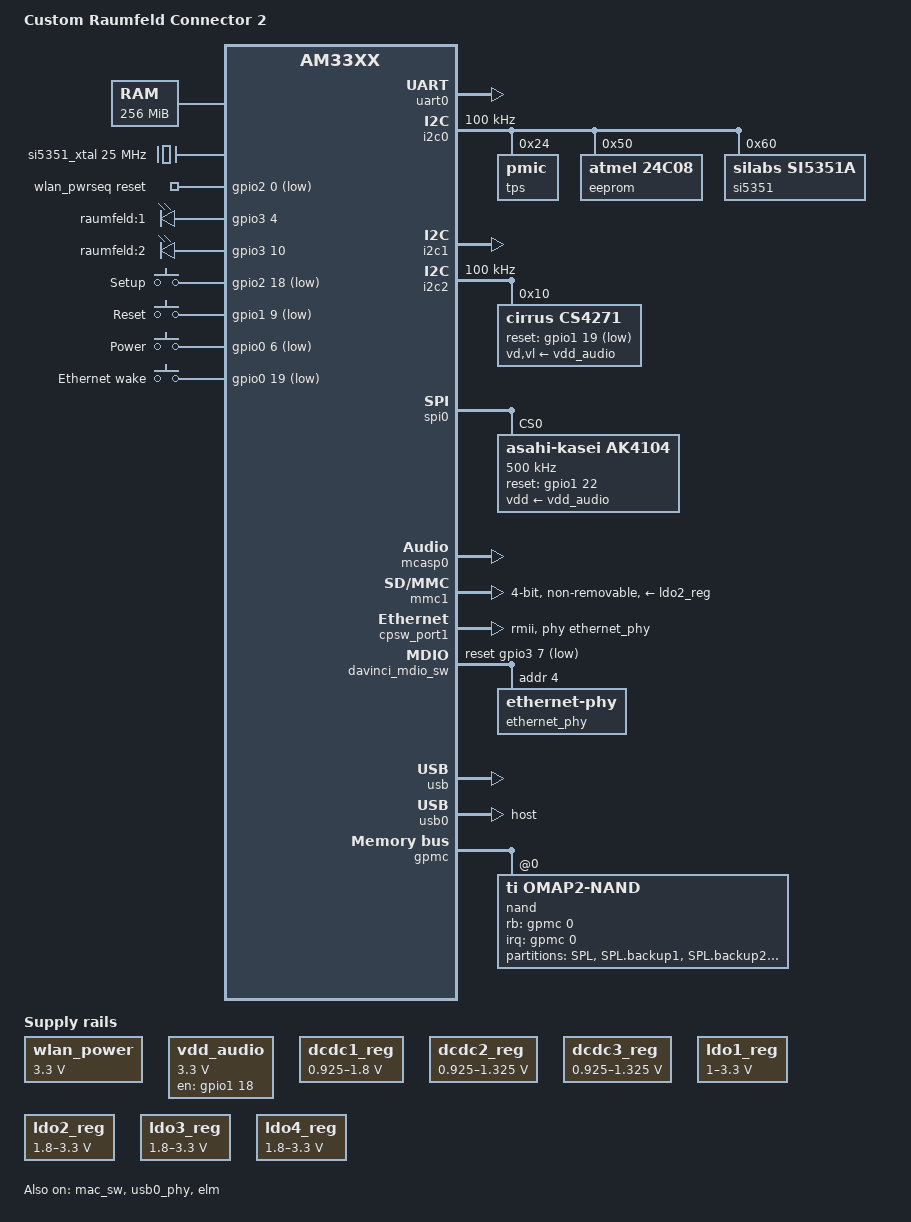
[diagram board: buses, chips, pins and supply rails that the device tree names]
// SPDX-License-Identifier: GPL-2.0-only
/dts-v1/;
#include "am33xx.dtsi"
#include <dt-bindings/interrupt-controller/irq.h>
#include <dt-bindings/input/input.h>
#include <dt-bindings/input/gpio-keys.h>
#include <dt-bindings/pinctrl/omap.h>

/* Board wiring recovered from this unit's original NAND DTB. */
/ {
    model = "Custom Raumfeld Connector 2";
    compatible = "raumfeld,raumfeld-connector2", "ti,am335x-raumfeld-connector", "ti,am33xx";
    chosen { stdout-path = "serial0:115200n8"; };
    memory@80000000 { device_type = "memory"; reg = <0x80000000 0x10000000>; };
    cpus { cpu@0 { cpu0-supply = <&dcdc2_reg>; }; };

    si5351_xtal: clock-25000000 {
        compatible = "fixed-clock";
        #clock-cells = <0>;
        clock-frequency = <25000000>;
    };
    wlan_power: regulator-wlan {
        compatible = "regulator-fixed";
        regulator-name = "wlan-3v3";
        regulator-min-microvolt = <3300000>;
        regulator-max-microvolt = <3300000>;
        regulator-always-on;
    };
    wlan_pwrseq: wlan-pwrseq {
        compatible = "mmc-pwrseq-simple";
        reset-gpios = <&gpio2 0 GPIO_ACTIVE_LOW>;
        clocks = <&clk_32768_ck>;
        clock-names = "ext_clock";
    };
    vdd_audio: regulator-audio {
        compatible = "regulator-fixed";
        regulator-name = "vdd-audio";
        /* AK4104 reads its ID before ASoC enables codec supplies. */
        regulator-boot-on;
        regulator-always-on;
        regulator-min-microvolt = <3300000>;
        regulator-max-microvolt = <3300000>;
        gpio = <&gpio1 18 GPIO_ACTIVE_HIGH>;
        enable-active-high;
        startup-delay-us = <100>;
        pinctrl-names = "default";
        pinctrl-0 = <&audio_power_pins>;
    };
    sound {
        compatible = "raumfeld,connector2-audio";
        model = "Connector2";
        audio-cpu = <&mcasp0>;
        audio-codecs = <&cs4271>, <&ak4104>;
        /* CLK2 mirrors MS0; both audio outputs must remain enabled. */
        clocks = <&si5351 0>, <&si5351 2>;
        clock-names = "mclk", "bus-mclk";
        vd-supply = <&vdd_audio>;
    };
    leds {
        compatible = "gpio-leds";
        pinctrl-names = "default";
        pinctrl-0 = <&led_pins>;
        led-1 { label = "raumfeld:1"; gpios = <&gpio3 4 GPIO_ACTIVE_HIGH>; };
        led-2 { label = "raumfeld:2"; gpios = <&gpio3 10 GPIO_ACTIVE_HIGH>; default-state = "on"; };
    };
    gpio-keys {
        compatible = "gpio-keys";
        pinctrl-names = "default";
        pinctrl-0 = <&button_pins>;
        setup { label = "Setup"; gpios = <&gpio2 18 GPIO_ACTIVE_LOW>; linux,code = <KEY_SETUP>; debounce-interval = <20>; };
        reset { label = "Reset"; gpios = <&gpio1 9 GPIO_ACTIVE_LOW>; linux,code = <KEY_F3>; debounce-interval = <20>; };
        power {
            label = "Power";
            gpios = <&gpio0 6 GPIO_ACTIVE_LOW>;
            linux,code = <KEY_POWER>;
            debounce-interval = <20>;
            wakeup-source;
            /* Releasing the sleep-entry hold must not wake the board. */
            wakeup-event-action = <EV_ACT_ASSERTED>;
        };
        /*
         * The AR8030 interrupt (factory pinmux "eth_wake_s0"): low after a
         * magic packet while Wake-on-LAN is armed, until the PHY's status is
         * read. raumfeld-suspend arms it only for deep sleep.
         */
        ethernet-wake {
            label = "Ethernet wake";
            gpios = <&gpio0 19 GPIO_ACTIVE_LOW>;
            linux,code = <KEY_WAKEUP>;
            wakeup-source;
            wakeup-event-action = <EV_ACT_ASSERTED>;
        };
    };
};

&am33xx_pinmux {
    pinctrl-names = "default";
    pinctrl-0 = <&board_misc_pins>;
    board_misc_pins: board-misc-pins {
        pinctrl-single,pins = <
            AM33XX_PADCONF(0x9b4, 0x00, 3)
            AM33XX_PADCONF(0x9e4, 0x10, 7)
        >;
    };
    uart0_pins: uart0-pins { pinctrl-single,pins = <
            AM33XX_PADCONF(0x970, 0x38, 0)
            AM33XX_PADCONF(0x974, 0x00, 0)
        >; };
    i2c0_pins: i2c0-pins { pinctrl-single,pins = <
            AM33XX_PADCONF(0x988, 0x60, 0)
            AM33XX_PADCONF(0x98c, 0x60, 0)
        >; };
    i2c2_pins: i2c2-pins { pinctrl-single,pins = <
            AM33XX_PADCONF(0x978, 0x20, 3)
            AM33XX_PADCONF(0x97c, 0x20, 3)
        >; };
    cpsw_pins: cpsw-pins {
        pinctrl-single,pins = <
            AM33XX_PADCONF(0x90c, 0x20, 1)
            AM33XX_PADCONF(0x910, 0x20, 1)
            AM33XX_PADCONF(0x914, 0x00, 1)
            AM33XX_PADCONF(0x924, 0x00, 1)
            AM33XX_PADCONF(0x928, 0x00, 1)
            AM33XX_PADCONF(0x93c, 0x20, 1)
            AM33XX_PADCONF(0x940, 0x20, 1)
            AM33XX_PADCONF(0x944, 0x20, 0)
            AM33XX_PADCONF(0x9b0, 0x20, 7)
        >;
    };
    /*
     * The factory's cpsw_sleep/davinci_mdio_sleep: with Wake-on-LAN armed the
     * PHY keeps running, and its RMII clock and data must not reach the MAC,
     * or the PER power domain does not turn off in deep sleep. GPIO0_19 stays
     * the wake input.
     */
    cpsw_sleep_pins: cpsw-sleep-pins {
        pinctrl-single,pins = <
            AM33XX_PADCONF(0x90c, 0x20, 7)
            AM33XX_PADCONF(0x910, 0x20, 7)
            AM33XX_PADCONF(0x914, 0x20, 7)
            AM33XX_PADCONF(0x924, 0x20, 7)
            AM33XX_PADCONF(0x928, 0x20, 7)
            AM33XX_PADCONF(0x93c, 0x20, 7)
            AM33XX_PADCONF(0x940, 0x20, 7)
            AM33XX_PADCONF(0x944, 0x20, 7)
            AM33XX_PADCONF(0x9b0, 0x20, 7)
        >;
    };
    mdio_sleep_pins: mdio-sleep-pins { pinctrl-single,pins = <
            AM33XX_PADCONF(0x948, 0x20, 7)
            AM33XX_PADCONF(0x94c, 0x20, 7)
        >; };
    mdio_pins: mdio-pins { pinctrl-single,pins = <
            AM33XX_PADCONF(0x948, 0x70, 0)
            AM33XX_PADCONF(0x94c, 0x10, 0)
        >; };
    wlan_pins: wlan-pins {
        pinctrl-single,pins = <
            AM33XX_PADCONF(0x8fc, 0x38, 0)
            AM33XX_PADCONF(0x8f8, 0x38, 0)
            AM33XX_PADCONF(0x8f4, 0x38, 0)
            AM33XX_PADCONF(0x8f0, 0x38, 0)
            AM33XX_PADCONF(0x900, 0x38, 0)
            AM33XX_PADCONF(0x904, 0x38, 0)
            AM33XX_PADCONF(0x888, 0x00, 7)
        >;
    };
    spi0_pins: spi0-pins {
        pinctrl-single,pins = <
            AM33XX_PADCONF(0x950, 0x28, 0)
            AM33XX_PADCONF(0x954, 0x08, 0)
            AM33XX_PADCONF(0x958, 0x30, 0)
            AM33XX_PADCONF(0x95c, 0x10, 0)
            AM33XX_PADCONF(0x858, 0x00, 7)
        >;
    };
    cs4271_reset_pins: cs4271-reset-pins { pinctrl-single,pins = <
            AM33XX_PADCONF(0x84c, 0x10, 7)
        >; };
    audio_power_pins: audio-power-pins { pinctrl-single,pins = <
            AM33XX_PADCONF(0x848, 0x10, 7)
        >; };
    mcasp0_pins: mcasp0-pins {
        pinctrl-single,pins = <
            AM33XX_PADCONF(0x9ac, 0x28, 0)
            AM33XX_PADCONF(0x990, 0x08, 0)
            AM33XX_PADCONF(0x994, 0x08, 0)
            AM33XX_PADCONF(0x998, 0x08, 0)
            AM33XX_PADCONF(0x9a8, 0x28, 0)
            AM33XX_PADCONF(0x878, 0x20, 7)
            AM33XX_PADCONF(0x9a4, 0x20, 7)
            AM33XX_PADCONF(0x99c, 0x28, 0)
            AM33XX_PADCONF(0x9a0, 0x20, 7)
        >;
    };
    button_pins: button-pins { pinctrl-single,pins = <
            AM33XX_PADCONF(0x934, 0x30, 7)
            AM33XX_PADCONF(0x96c, 0x30, 7)
            AM33XX_PADCONF(0x960, 0x30, 7)
        >; };
    /* Original LED GPIOs are bank 3; mux their actual pads, not inherited bank-1 placeholders. */
    led_pins: led-pins { pinctrl-single,pins = <
            AM33XX_PADCONF(0x918, 0x00, 7)
            AM33XX_PADCONF(0x930, 0x00, 7)
        >; };
    nand_pins: nand-pins {
        pinctrl-single,pins = <
            AM33XX_PADCONF(0x800, 0x30, 0)
            AM33XX_PADCONF(0x804, 0x30, 0)
            AM33XX_PADCONF(0x808, 0x30, 0)
            AM33XX_PADCONF(0x80c, 0x30, 0)
            AM33XX_PADCONF(0x810, 0x30, 0)
            AM33XX_PADCONF(0x814, 0x30, 0)
            AM33XX_PADCONF(0x818, 0x30, 0)
            AM33XX_PADCONF(0x81c, 0x30, 0)
            AM33XX_PADCONF(0x870, 0x30, 0)
            AM33XX_PADCONF(0x874, 0x10, 7)
            AM33XX_PADCONF(0x87c, 0x08, 0)
            AM33XX_PADCONF(0x890, 0x08, 0)
            AM33XX_PADCONF(0x894, 0x08, 0)
            AM33XX_PADCONF(0x898, 0x08, 0)
            AM33XX_PADCONF(0x89c, 0x08, 0)
        >;
    };
};

&uart0 { status = "okay"; pinctrl-names = "default"; pinctrl-0 = <&uart0_pins>; };
&i2c0 {
    status = "okay";
    clock-frequency = <100000>;
    pinctrl-names = "default";
    pinctrl-0 = <&i2c0_pins>;
    tps: pmic@24 { reg = <0x24>; };
    eeprom@50 { compatible = "atmel,24c08"; reg = <0x50>; pagesize = <16>; };
    si5351: clock-generator@60 {
        compatible = "silabs,si5351a";
        reg = <0x60>;
        #address-cells = <1>;
        #size-cells = <0>;
        #clock-cells = <1>;
        clocks = <&si5351_xtal>;
        clock-names = "xtal";
        silabs,pll-source = <0 0>, <1 0>;
        /* PLLA is the audio clock and is retuned live by the "Drift
         * compensator" trim: no soft reset on a rate change, which would
         * glitch MCLK under a playing stream. PLLA is still reset when
         * clkout0 is prepared, for a defined start. PLLB (32.768 kHz) keeps
         * the default. */
        silabs,pll-reset-mode = <0 1>;
        clkout0 { reg = <0>; silabs,drive-strength = <2>; silabs,multisynth-source = <0>; silabs,clock-source = <0>; silabs,pll-master; silabs,pll-reset; };
        clkout1 { reg = <1>; silabs,drive-strength = <2>; silabs,multisynth-source = <1>; silabs,clock-source = <0>; silabs,pll-master; clock-frequency = <32768>; };
        clkout2 { reg = <2>; silabs,drive-strength = <2>; silabs,clock-source = <1>; silabs,disable-state = <2>; };
    };
};
#include "../../tps65217.dtsi"
&dcdc1_reg { regulator-min-microvolt = <925000>; regulator-max-microvolt = <1800000>; regulator-boot-on; regulator-always-on; };
&dcdc2_reg { regulator-name = "vdd_mpu"; regulator-min-microvolt = <925000>; regulator-max-microvolt = <1325000>; regulator-boot-on; regulator-always-on; };
&dcdc3_reg { regulator-name = "vdd_core"; regulator-min-microvolt = <925000>; regulator-max-microvolt = <1325000>; regulator-boot-on; regulator-always-on; };
&ldo1_reg { regulator-min-microvolt = <1000000>; regulator-max-microvolt = <3300000>; regulator-boot-on; regulator-always-on; };
&ldo2_reg { regulator-min-microvolt = <1800000>; regulator-max-microvolt = <3300000>; regulator-boot-on; regulator-always-on; };
&ldo3_reg { regulator-min-microvolt = <1800000>; regulator-max-microvolt = <3300000>; regulator-boot-on; regulator-always-on; };
&ldo4_reg { regulator-min-microvolt = <1800000>; regulator-max-microvolt = <3300000>; regulator-boot-on; regulator-always-on; };

/* Keep within the factory board's 720 MHz maximum. */
&cpu0_opp_table {
    /delete-node/ opp-800000000;
    /delete-node/ opp-1000000000;
};

&i2c1 { status = "okay"; };
&i2c2 {
    status = "okay";
    clock-frequency = <100000>;
    pinctrl-names = "default";
    pinctrl-0 = <&i2c2_pins>;
    cs4271: codec@10 {
        compatible = "cirrus,cs4271";
        reg = <0x10>;
        #sound-dai-cells = <0>;
        pinctrl-names = "default";
        pinctrl-0 = <&cs4271_reset_pins>;
        reset-gpios = <&gpio1 19 GPIO_ACTIVE_LOW>;
        cirrus,enable-soft-reset;
        cirrus,amuteb-eq-bmutec;
        vd-supply = <&vdd_audio>;
        vl-supply = <&vdd_audio>;
        /* Analog VA was not mapped by the factory tree either; do not invent a switch. */
    };
};
&spi0 {
    status = "okay";
    pinctrl-names = "default";
    pinctrl-0 = <&spi0_pins>;
    ti,pindir-d0-out-d1-in;
    ak4104: codec@0 {
        compatible = "asahi-kasei,ak4104";
        reg = <0>;
        #sound-dai-cells = <0>;
        spi-max-frequency = <500000>;
        /* Linux 6.12 AK4104 requests logical HIGH as the deasserted state. */
        reset-gpios = <&gpio1 22 GPIO_ACTIVE_HIGH>;
        vdd-supply = <&vdd_audio>;
    };
};
&mcasp0 {
    status = "okay";
    #sound-dai-cells = <0>;
    pinctrl-names = "default";
    pinctrl-0 = <&mcasp0_pins>;
    op-mode = <0>;
    tdm-slots = <2>;
    serial-dir = <1 2 0 0 0 0 0 0 0 0 0 0 0 0 0 0>;
    tx-num-evt = <1>;
    rx-num-evt = <1>;
};
&mmc1 {
    status = "okay";
    pinctrl-names = "default";
    pinctrl-0 = <&wlan_pins>;
    bus-width = <4>;
    non-removable;
    cap-sdio-irq;
    keep-power-in-suspend;
    wakeup-source;
    vmmc-supply = <&ldo2_reg>;
    vqmmc-supply = <&wlan_power>;
    mmc-pwrseq = <&wlan_pwrseq>;
};
&mac_sw {
    status = "okay";
    pinctrl-names = "default", "sleep";
    pinctrl-0 = <&cpsw_pins>;
    pinctrl-1 = <&cpsw_sleep_pins>;
};
&cpsw_port1 { status = "okay"; phy-mode = "rmii"; phy-handle = <&ethernet_phy>; };
&cpsw_port2 { status = "disabled"; };
&davinci_mdio_sw {
    pinctrl-names = "default", "sleep";
    pinctrl-0 = <&mdio_pins>;
    pinctrl-1 = <&mdio_sleep_pins>;
    /*
     * The PHY reset belongs to the bus, not the PHY: Linux asserts a PHY's
     * own reset whenever it is detached, which cpsw does on every suspend,
     * and a PHY held in reset cannot see a Wake-on-LAN magic packet.
     */
    reset-gpios = <&gpio3 7 GPIO_ACTIVE_LOW>;
    reset-delay-us = <1000>;
    reset-post-delay-us = <1000>;
    ethernet_phy: ethernet-phy@4 {
        reg = <4>;
        max-speed = <100>;
    };
};
&usb { status = "okay"; };
&usb0 { status = "okay"; dr_mode = "host"; };
&usb0_phy { status = "okay"; };
&usb1 { status = "disabled"; };
&usb1_phy { status = "disabled"; };
&elm { status = "okay"; };
&gpmc {
    status = "okay";
    pinctrl-names = "default";
    pinctrl-0 = <&nand_pins>;
    ranges = <0 0 0x08000000 0x01000000>;
    nand@0,0 {
        compatible = "ti,omap2-nand";
        reg = <0 0 4>;
        interrupt-parent = <&gpmc>;
        interrupts = <0 IRQ_TYPE_NONE>, <1 IRQ_TYPE_NONE>;
        rb-gpios = <&gpmc 0 GPIO_ACTIVE_HIGH>;
        ti,nand-xfer-type = "prefetch-dma";
        ti,nand-ecc-opt = "bch8";
        ti,elm-id = <&elm>;
        nand-bus-width = <8>;
        gpmc,device-width = <1>;
        gpmc,cs-on-ns = <0>;
        gpmc,cs-rd-off-ns = <44>;
        gpmc,cs-wr-off-ns = <44>;
        gpmc,adv-on-ns = <6>;
        gpmc,adv-rd-off-ns = <34>;
        gpmc,adv-wr-off-ns = <44>;
        gpmc,we-on-ns = <6>;
        gpmc,we-off-ns = <40>;
        gpmc,oe-on-ns = <6>;
        gpmc,oe-off-ns = <54>;
        gpmc,access-ns = <64>;
        gpmc,rd-cycle-ns = <82>;
        gpmc,wr-cycle-ns = <82>;
        partitions {
            compatible = "fixed-partitions";
            #address-cells = <1>;
            #size-cells = <1>;
            partition@0 { label = "SPL"; reg = <0x0 0x20000>; read-only; };
            partition@20000 { label = "SPL.backup1"; reg = <0x20000 0x20000>; read-only; };
            partition@40000 { label = "SPL.backup2"; reg = <0x40000 0x20000>; read-only; };
            partition@60000 { label = "Firmware Data"; reg = <0x60000 0x20000>; read-only; };
            partition@80000 { label = "U-Boot"; reg = <0x80000 0x100000>; read-only; };
            partition@180000 { label = "U-Boot Env"; reg = <0x180000 0x20000>; read-only; };
            partition@1a0000 { label = "Kernel"; reg = <0x1a0000 0x600000>; };
            partition@7a0000 { label = "DTB"; reg = <0x7a0000 0x40000>; };
            partition@7e0000 { label = "File System"; reg = <0x7e0000 0xf820000>; };
        };
    };
};
